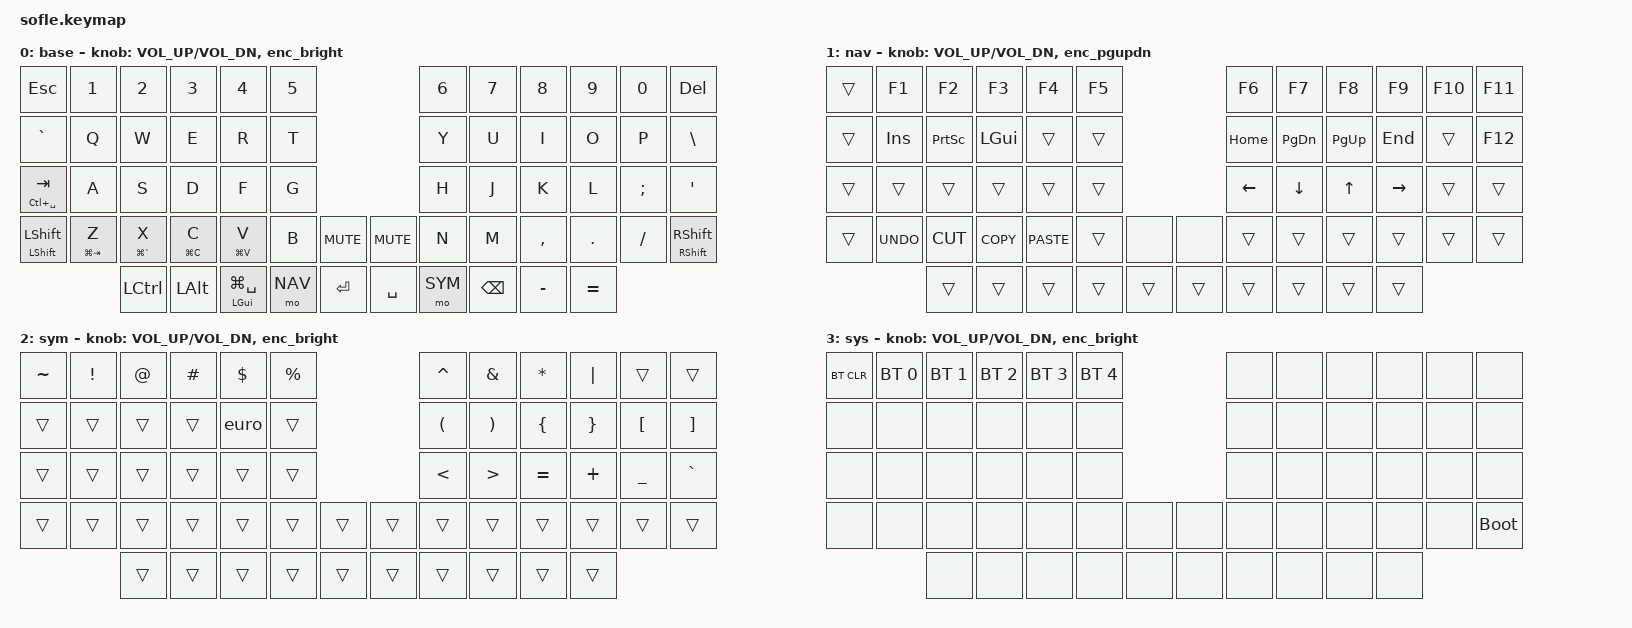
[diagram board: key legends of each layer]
/*
 * Copyright (c) 2020 The ZMK Contributors
 * SPDX-License-Identifier: MIT
 *
 * Adapté pour Arch Linux / Hyprland
 * Molette G = Volume  → XF86AudioRaiseVolume / LowerVolume
 * Molette D (BASE/SYM/SYS) = Luminosité → XF86MonBrightnessUp / Down
 * Molette D (NAV)           = PG_UP / PG_DN
 */

#include <behaviors.dtsi>
#include <dt-bindings/zmk/keys.h>
#include <dt-bindings/zmk/bt.h>
#include <dt-bindings/zmk/ext_power.h>

#define BASE 0
#define NAV  1
#define SYM  2
#define SYS  3

/ {
    macros {
        euro: euro {
            compatible = "zmk,behavior-macro";
            #binding-cells = <0>;
            bindings = <&kp RA(N5)>;
        };
    };

    behaviors {
        sk_shift: sk_shift {
            compatible = "zmk,behavior-hold-tap";
            #binding-cells = <2>;
            tapping-term-ms = <150>;
            flavor = "balanced";
            bindings = <&kp>, <&sk>;
        };
        shift_cw: shift_caps_word {
            compatible = "zmk,behavior-hold-tap";
            #binding-cells = <2>;
            tapping-term-ms = <200>;
            flavor = "balanced";
            bindings = <&kp>, <&caps_word>;
        };

        // ── Encodeurs ─────────────────────────────────────────────────
        enc_bright: enc_bright {
            compatible = "zmk,behavior-sensor-rotate";
            #sensor-binding-cells = <0>;
            bindings = <&kp C_BRI_UP>, <&kp C_BRI_DN>;
        };
        enc_pgupdn: enc_pgupdn {
            compatible = "zmk,behavior-sensor-rotate";
            #sensor-binding-cells = <0>;
            bindings = <&kp PG_UP>, <&kp PG_DN>;
        };

        // ── Tap-hold ──────────────────────────────────────────────────
        tab_tmux: tab_tmux {
            compatible = "zmk,behavior-hold-tap";
            #binding-cells = <2>;
            tapping-term-ms = <200>;
            flavor = "balanced";
            bindings = <&kp>, <&kp>;
        };
        cmd_ray: cmd_raycast {
            compatible = "zmk,behavior-hold-tap";
            #binding-cells = <2>;
            tapping-term-ms = <200>;
            flavor = "balanced";
            bindings = <&kp>, <&kp>;
        };
        c_copy: c_copy {
            compatible = "zmk,behavior-hold-tap";
            #binding-cells = <2>;
            tapping-term-ms = <200>;
            require-prior-idle-ms = <150>;
            flavor = "hold-preferred";
            bindings = <&kp>, <&kp>;
        };
        v_paste: v_paste {
            compatible = "zmk,behavior-hold-tap";
            #binding-cells = <2>;
            tapping-term-ms = <200>;
            require-prior-idle-ms = <150>;
            flavor = "hold-preferred";
            bindings = <&kp>, <&kp>;
        };
        z_appsw: z_appsw {
            compatible = "zmk,behavior-hold-tap";
            #binding-cells = <2>;
            tapping-term-ms = <200>;
            require-prior-idle-ms = <150>;
            flavor = "hold-preferred";
            bindings = <&kp>, <&kp>;
        };
        x_winsw: x_winsw {
            compatible = "zmk,behavior-hold-tap";
            #binding-cells = <2>;
            tapping-term-ms = <200>;
            require-prior-idle-ms = <150>;
            flavor = "hold-preferred";
            bindings = <&kp>, <&kp>;
        };
    };

    conditional_layers {
        compatible = "zmk,conditional-layers";
        sys_layer {
            if-layers = <NAV SYM>;
            then-layer = <SYS>;
        };
    };

    keymap {
        compatible = "zmk,keymap";

        base_layer {
            display-name = "base";
// ------------------------------------------------------------------------------------------------------------
// |  ESC  |  1  |  2  |  3   |  4   |  5   |                   |  6   |  7   |  8    |  9   |   0   |  DEL  |
// |  `/~  |  Q  |  W  |  E   |  R   |  T   |                   |  Y   |  U   |  I    |  O   |   P   |  \/|  |
// |TAB/TUX|  A  |  S  |  D   |  F   |  G   |                   |  H   |  J   |  K    |  L   |   ;   |   '   |
// |SK/SFT |Z/SW |X/WSW|C/CPY |V/PST |  B   | VOL↕  | BRI↕    |  N   |  M   |  ,    |  .   |   /   |SFT/CW |
//               | CTRL | ALT |CMD/RCT| NAV  | ENTER |  | SPACE | SYM  | BSPC |   -   |  =   |
            bindings = <
&kp ESC                 &kp N1               &kp N2                &kp N3           &kp N4           &kp N5                              &kp N6  &kp N7  &kp N8     &kp N9   &kp N0    &kp DEL
&kp GRAVE               &kp Q                &kp W                 &kp E            &kp R            &kp T                               &kp Y   &kp U   &kp I      &kp O    &kp P     &kp BSLH
&tab_tmux LC(SPACE) TAB &kp A                &kp S                 &kp D            &kp F            &kp G                               &kp H   &kp J   &kp K      &kp L    &kp SEMI  &kp SQT
&sk_shift LSHFT LSHFT   &z_appsw LG(TAB) Z  &x_winsw LG(GRAVE) X  &c_copy LG(C) C  &v_paste LG(V) V &kp B   &kp C_MUTE  &kp C_MUTE     &kp N   &kp M   &kp COMMA  &kp DOT  &kp FSLH  &shift_cw RSHFT RSHFT
                         &kp LCTRL           &kp LALT              &cmd_ray LGUI LG(SPACE) &mo NAV  &kp RET   &kp SPACE   &mo SYM  &kp BSPC  &kp MINUS  &kp EQUAL
            >;
            // G: Volume   D: Luminosité
            sensor-bindings = <&inc_dec_kp C_VOL_UP C_VOL_DN &enc_bright>;
        };

        nav_layer {
            display-name = "nav";
// ------------------------------------------------------------------------------------------------------------
// |       |  F1  |  F2  |  F3  |  F4  |  F5  |                   |  F6  |  F7   |  F8   |  F9  |  F10  |  F11  |
// |       | INS  | PSCRN| GUI  |      |      |                   | HOME | PGDN  | PGUP  | END  |       |  F12  |
// |       |      |      |      |      |      |                   | LEFT | DOWN  |  UP   | RIGHT|       |       |
// |       | UNDO | CUT  | COPY |PASTE |      | VOL↕  | PGUP↕   |      |       |       |      |       |       |
//                |      |      |      |      |        |          |      |       |       |      |
            bindings = <
&trans &kp F1     &kp F2    &kp F3     &kp F4      &kp F5                          &kp F6   &kp F7    &kp F8    &kp F9    &kp F10 &kp F11
&trans &kp INS    &kp PSCRN &kp LGUI   &trans      &trans                          &kp HOME &kp PG_DN &kp PG_UP &kp END   &trans  &kp F12
&trans &trans     &trans    &trans     &trans      &trans                          &kp LEFT &kp DOWN  &kp UP    &kp RIGHT &trans  &trans
&trans &kp K_UNDO &kp K_CUT &kp K_COPY &kp K_PASTE &trans   &none      &none       &trans   &trans    &trans    &trans    &trans  &trans
                  &trans    &trans     &trans      &trans   &trans     &trans      &trans   &trans    &trans    &trans
            >;
            // G: Volume   D: PG_UP / PG_DN
            sensor-bindings = <&inc_dec_kp C_VOL_UP C_VOL_DN &enc_pgupdn>;
        };

        sym_layer {
            display-name = "sym";
// ------------------------------------------------------------------------------------------------------------
// |  ~   |  !   |  @   |   #   |  $   |  %   |                   |  ^   |  &   |   *   |  |   |       |     |
// |      |      |      |       |  €   |      |                   |  (   |  )   |   {   |  }   |   [   |  ]  |
// |      |      |      |       |      |      |                   |  <   |  >   |   =   |  +   |   _   |     |
// |      |      |      |       |      |      | VOL↕  | BRI↕     |      |      |       |      |       |     |
//               |      |       |      |      |        |          |      |      |       |      |
            bindings = <
&kp TILDE &kp EXCL &kp AT &kp HASH &kp DLLR &kp PRCNT                   &kp CARET &kp AMPS &kp ASTRK &kp PIPE  &trans    &trans
&trans    &trans   &trans &trans   &euro    &trans                      &kp LPAR  &kp RPAR &kp LBRC  &kp RBRC  &kp LBKT  &kp RBKT
&trans    &trans   &trans &trans   &trans   &trans                      &kp LT    &kp GT   &kp EQUAL &kp PLUS  &kp UNDER &kp GRAVE
&trans    &trans   &trans &trans   &trans   &trans   &trans   &trans    &trans    &trans   &trans    &trans    &trans    &trans
                   &trans &trans   &trans   &trans   &trans   &trans    &trans    &trans   &trans    &trans
            >;
            // G: Volume   D: Luminosité
            sensor-bindings = <&inc_dec_kp C_VOL_UP C_VOL_DN &enc_bright>;
        };

        sys_layer {
            display-name = "sys";
// ------------------------------------------------------------------------------------------------------------
// | BTCLR | BT1  | BT2  |  BT3  |  BT4  |  BT5  |                |      |      |       |      |       |       |
// |       |      |      |       |       |       |                |      |      |       |      |       |       |
// |       |      |      |       |       |       |                |      |      |       |      |       |       |
// |       |      |      |       |       |       | VOL↕  | BRI↕  |      |      |       |      |       | BOOT  |
//                |      |       |       |       |        |       |      |      |       |      |
            bindings = <
&bt BT_CLR &bt BT_SEL 0 &bt BT_SEL 1 &bt BT_SEL 2 &bt BT_SEL 3 &bt BT_SEL 4                  &none &none &none &none &none &none
&none      &none        &none        &none        &none        &none                          &none &none &none &none &none &none
&none      &none        &none        &none        &none        &none                          &none &none &none &none &none &none
&none      &none        &none        &none        &none        &none        &none   &none      &none &none &none &none &none &bootloader
                        &none        &none        &none        &none        &none   &none      &none &none &none &none
            >;
            // G: Volume   D: Luminosité
            sensor-bindings = <&inc_dec_kp C_VOL_UP C_VOL_DN &enc_bright>;
        };
    };
};
